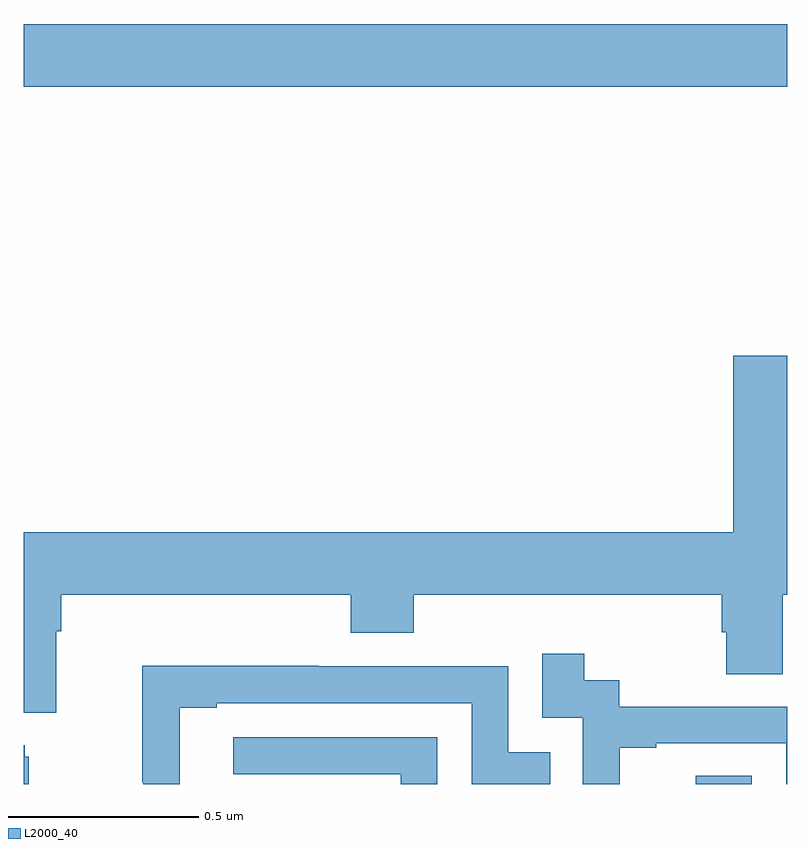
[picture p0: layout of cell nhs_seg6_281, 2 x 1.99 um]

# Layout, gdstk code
import gdstk
lib = gdstk.Library(unit=1e-6, precision=1e-09)
def R(c, l, rs):  # rectangles x0, y0, x1, y1
    for r in rs: c.add(gdstk.rectangle(r[:2], r[2:], *l))
def P(c, l, *ps):  # polygons
    for p in ps: c.add(gdstk.Polygon(p, *l))
L2000_40 = (2000, 40)

nhs_seg6_281 = lib.new_cell('nhs_seg6_281')
R(nhs_seg6_281, L2000_40, [(115.761,953.5,115.908,953.521), (114,955.328,116,955.492)])
P(nhs_seg6_281, L2000_40, [(114.085,953.9),(114.098,953.9),(114.098,953.996),(114.857,953.996),(114.857,953.897),(115.022,953.897),(115.022,953.996),(115.829,953.996),(115.829,953.898),(115.841,953.898),(115.841,953.788),(115.989,953.788),(115.989,953.996),(116,953.996),(116,954.622),(115.859,954.622),(115.859,954.16),(114,954.16),(114,953.687),(114.085,953.687)],
  [(115.562,953.595),(115.657,953.595),(115.657,953.607),(115.998,953.607),(115.998,953.5),(116,953.5),(116,953.703),(115.56,953.703),(115.56,953.772),(115.468,953.772),(115.468,953.842),(115.359,953.842),(115.359,953.673),(115.464,953.673),(115.464,953.5),(115.562,953.5)],
  [(114.408,953.7),(114.505,953.7),(114.505,953.712),(115.173,953.712),(115.173,953.5),(115.379,953.5),(115.379,953.583),(115.269,953.583),(115.269,953.808),(114.773,953.808),(114.773,953.81),(114.31,953.81),(114.31,953.503),(114.312,953.503),(114.312,953.5),(114.408,953.5)],
  [(115.083,953.622),(114.549,953.622),(114.549,953.526),(114.987,953.526),(114.987,953.5),(115.083,953.5)],
  [(114.013,953.571),(114.002,953.571),(114.002,953.602),(114,953.602),(114,953.5),(114.013,953.5)])

lib.write_gds('nhs_seg6_281.gds')
